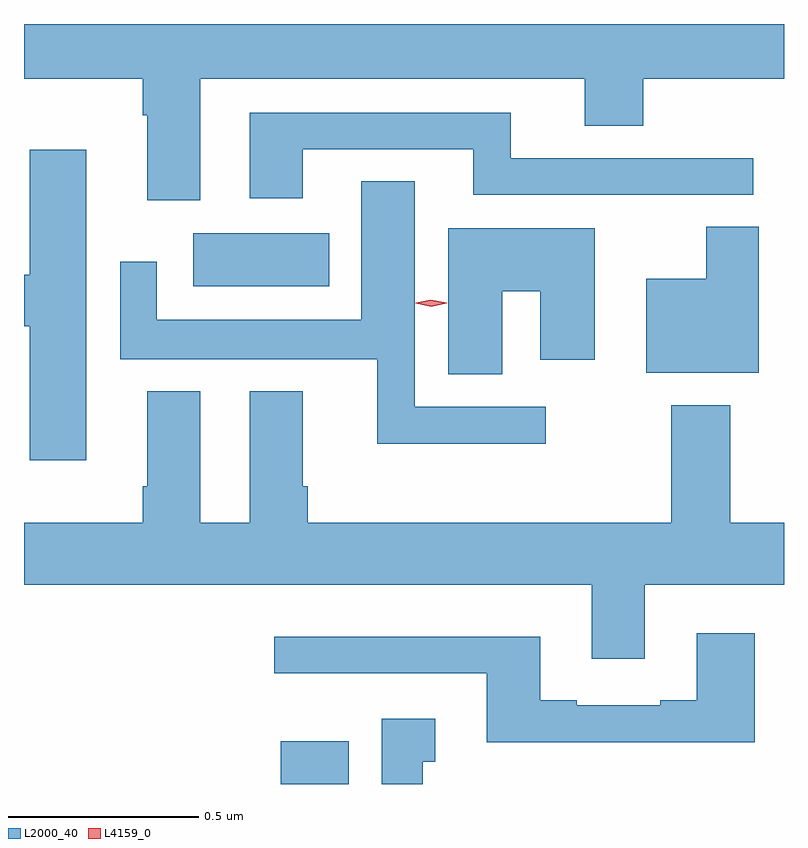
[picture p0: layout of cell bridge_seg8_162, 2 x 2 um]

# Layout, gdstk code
import gdstk
lib = gdstk.Library(unit=1e-6, precision=1e-09)
def R(c, l, rs):  # rectangles x0, y0, x1, y1
    for r in rs: c.add(gdstk.rectangle(r[:2], r[2:], *l))
def P(c, l, *ps):  # polygons
    for p in ps: c.add(gdstk.Polygon(p, *l))
L2000_40 = (2000, 40)
L4159_0 = (4159, 0)

bridge_seg8_162 = lib.new_cell('bridge_seg8_162')
R(bridge_seg8_162, L2000_40, [(529.868,1150.608,530.047,1150.72), (529.638,1151.918,529.996,1152.058)])
P(bridge_seg8_162, L2000_40, [(529.657,1152.464),(530.669,1152.464),(530.669,1152.34),(530.822,1152.34),(530.822,1152.464),(531.193,1152.464),(531.193,1152.608),(529.193,1152.608),(529.193,1152.464),(529.505,1152.464),(529.505,1152.368),(529.517,1152.368),(529.517,1152.144),(529.657,1152.144)],
  [(529.927,1152.279),(530.375,1152.279),(530.375,1152.159),(531.112,1152.159),(531.112,1152.255),(530.474,1152.255),(530.474,1152.375),(529.787,1152.375),(529.787,1152.15),(529.927,1152.15)],
  [(529.357,1152.277),(529.208,1152.277),(529.208,1151.948),(529.193,1151.948),(529.193,1151.812),(529.208,1151.812),(529.208,1151.46),(529.357,1151.46)],
  [(530.566,1151.601),(530.221,1151.601),(530.221,1152.194),(530.081,1152.194),(530.081,1151.83),(529.542,1151.83),(529.542,1151.983),(529.446,1151.983),(529.446,1151.726),(530.123,1151.726),(530.123,1151.504),(530.566,1151.504)],
  [(531.126,1152.074),(530.989,1152.074),(530.989,1151.938),(530.831,1151.938),(530.831,1151.69),(531.126,1151.69)],
  [(530.452,1151.905),(530.552,1151.905),(530.552,1151.724),(530.695,1151.724),(530.695,1152.07),(530.309,1152.07),(530.309,1151.686),(530.452,1151.686)],
  [(530.827,1151.132),(531.193,1151.132),(531.193,1151.296),(531.051,1151.296),(531.051,1151.605),(530.896,1151.605),(530.896,1151.296),(529.94,1151.296),(529.94,1151.392),(529.927,1151.392),(529.927,1151.641),(529.787,1151.641),(529.787,1151.296),(529.657,1151.296),(529.657,1151.641),(529.517,1151.641),(529.517,1151.392),(529.505,1151.392),(529.505,1151.296),(529.193,1151.296),(529.193,1151.132),(530.687,1151.132),(530.687,1150.938),(530.827,1150.938)],
  [(531.116,1151.005),(530.963,1151.005),(530.963,1150.828),(530.867,1150.828),(530.867,1150.815),(530.647,1150.815),(530.647,1150.828),(530.551,1150.828),(530.551,1150.996),(529.851,1150.996),(529.851,1150.899),(530.411,1150.899),(530.411,1150.718),(531.116,1150.718)],
  [(530.242,1150.667),(530.275,1150.667),(530.275,1150.78),(530.135,1150.78),(530.135,1150.608),(530.242,1150.608)])
P(bridge_seg8_162, L4159_0, [(530.265,1151.864),(530.224,1151.873),(530.224,1151.873),(530.224,1151.874),(530.264,1151.883),(530.305,1151.874),(530.305,1151.874),(530.305,1151.873)])

lib.write_gds('bridge_seg8_162.gds')
